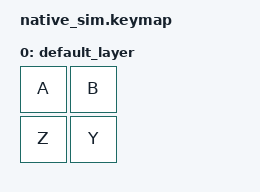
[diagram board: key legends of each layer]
#include <dt-bindings/zmk/keys.h>
#include <behaviors.dtsi>
#include <dt-bindings/zmk/kscan_mock.h>

/ {
    combos {
        compatible = "dax,runtime-combo-defaults";
        combo_one {
            timeout-ms = <30>;
            key-positions = <0 1>;
            bindings = <&kp C>;
        };

        combo_two {
            timeout-ms = <30>;
            key-positions = <2 3>;
            bindings = <&kp D>;
        };
    };

    keymap {
        compatible = "zmk,keymap";

        default_layer {
            bindings = <
                &kp A &kp B
                &kp Z &kp Y
            >;
        };
    };
};

&kscan {
    events = <
        ZMK_MOCK_PRESS(0,0,10)
        ZMK_MOCK_PRESS(0,1,10)
        ZMK_MOCK_PRESS(1,0,10)
        ZMK_MOCK_PRESS(1,1,10)

        ZMK_MOCK_RELEASE(1,0,10)
        ZMK_MOCK_RELEASE(1,1,10)
        ZMK_MOCK_RELEASE(0,0,10)
        ZMK_MOCK_RELEASE(0,1,10)
    >;
};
